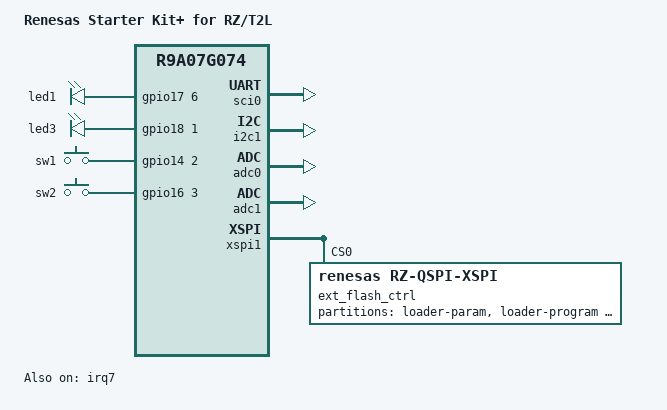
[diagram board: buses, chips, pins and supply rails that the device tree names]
/*
 * Copyright (c) 2025 Renesas Electronics Corporation
 *
 * SPDX-License-Identifier: Apache-2.0
 */

/dts-v1/;
#include <zephyr/dt-bindings/input/input-event-codes.h>
#include <arm/renesas/rz/rzt/r9a07g074.dtsi>
#include <freq.h>
#include "rzt2l_rsk-pinctrl.dtsi"

/ {
	compatible = "renesas,rzt2l-rsk";
	model = "Renesas Starter Kit+ for RZ/T2L";

	chosen {
		zephyr,sram = &atcm;
		zephyr,flash = &at25sf128a;
		zephyr,code-partition = &slot0_partition;
		zephyr,console = &uart0;
		zephyr,shell-uart = &uart0;
	};

	aliases {
		led0 = &led1;
		sw0 = &sw2;
	};

	leds {
		compatible = "gpio-leds";

		led1: led1 {
			gpios = <&gpio17 6 0>;
			label = "led1";
		};

		led3: led3 {
			gpios = <&gpio18 1 0>;
			label = "led3";
		};
	};

	gpio_keys {
		compatible = "gpio-keys";

		sw1: sw1 {
			label = "sw1";
			gpios = <&gpio14 2 0>;
			zephyr,code = <INPUT_KEY_0>;
		};

		sw2: sw2 {
			label = "sw2";
			gpios = <&gpio16 3 0>;
			zephyr,code = <INPUT_KEY_1>;
		};
	};
};

&sci0 {
	pinctrl-0 = <&sci0_default>;
	pinctrl-names = "default";
	status = "okay";

	uart0: uart {
		current-speed = <115200>;
		status = "okay";
	};
};

&i2c1 {
	pinctrl-0 = <&i2c1_default>;
	pinctrl-names = "default";
	status = "okay";
};

&gpio14 {
	status = "okay";
};

&gpio16 {
	irqs = <&irq7 3>;
	status = "okay";
};

&gpio17 {
	status = "okay";
};

&gpio18 {
	status = "okay";
};

&irq7 {
	trigger-type = "falling";
	pinctrl-0 = <&irq7_default>;
	pinctrl-names = "default";
	status = "okay";
};

&adc0 {
	status = "okay";
};

&adc1 {
	status = "okay";
};

&xspi1 {
	pinctrl-0 = <&xspi1_default>;
	pinctrl-names = "default";
	status = "okay";

	ext_flash_ctrl: flash-controller@0 {
		compatible = "renesas,rz-qspi-xspi";
		reg = <0>;
		ranges = <0x0 0x68000000 DT_SIZE_M(16)>;
		#address-cells = <1>;
		#size-cells = <1>;
		status = "okay";

		at25sf128a: qspi-nor-flash@0 {
			compatible = "soc-nv-flash";
			reg = <0x0 DT_SIZE_M(16)>;
			ranges;
			write-block-size = <1>;
			erase-block-size = <4096>;
			#address-cells = <1>;
			#size-cells = <1>;

			partitions {
				ranges;
				#address-cells = <1>;
				#size-cells = <1>;

				loader_param: partition@0 {
					compatible = "zephyr,mapped-partition";
					reg = <0x00000000 0x4c>;
					label = "loader-param";
					read-only;
				};

				loader_program: partition@4c {
					compatible = "zephyr,mapped-partition";
					reg = <0x0000004c (DT_SIZE_K(56) - 0x4C)>;
					label = "loader-program";
					read-only;
				};

				slot0_partition: partition@e000 {
					compatible = "zephyr,mapped-partition";
					reg = <0x0000e000 DT_SIZE_M(4)>;
					label = "image-0";
					read-only;
				};

				storage_partition: partition@40e000 {
					compatible = "zephyr,mapped-partition";
					reg = <0x0040e000
					       (DT_SIZE_M(16) - DT_SIZE_M(4) - DT_SIZE_K(56))>;
					label = "storage";
				};
			};
		};
	};
};
